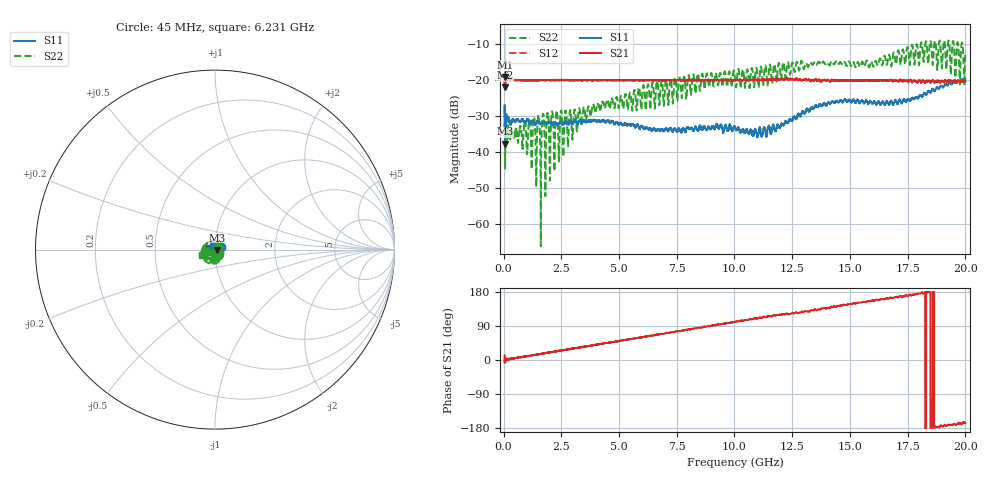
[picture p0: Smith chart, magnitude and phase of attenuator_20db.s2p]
!Agilent Technologies,E8364A,US41440322,A.04.87.01
!Agilent E8364A: A.04.87.01
!Date: Thursday, July 18, 2024 08:44:08
!Correction: S11(Full 2 Port SOLT,1,2) S21(Full 2 Port SOLT,1,2) S12(Full 2 Port SOLT,1,2) S22(Full 2 Port SOLT,1,2)
!S2P File: Measurements: S11, S21, S12, S22:
# Hz S  dB  R 50
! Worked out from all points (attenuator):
!   6401 points, 45 MHz to 20 GHz, reference 50 ohm
!   highest |S21| = -19.33 dB at 54.35 MHz (marker M1); lowest = -22.1 dB at 63.71 MHz (marker M2)
!   lowest |S11| = -37.8 dB at 63.71 MHz (marker M3), VSWR 1.03, Z = 51.2 - j0.46 ohm
!   |S11| at or under -10 dB: start of sweep to end of sweep
!   |S22| runs from -66.3 to -9.1 dB; largest |S21 - S12| = 0.048
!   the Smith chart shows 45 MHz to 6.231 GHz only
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4.5e7  -29.25 25.4  -20.47 12.3  -19.17 -13.3  -33.90 38.7
5.435391e7  -31.12 33.8  -19.33 5.1  -20.38 4.1  -34.88 6.1
6.370781e7  -37.78 -20.3  -22.07 1.6  -19.50 -3.0  -38.83 -24.4
2.850836e8  -31.60 -7.5  -20.17 3.3  -20.09 3.0  -36.56 7.4
1.709995e9  -31.88 -67.1  -20.07 17.3  -20.11 16.5  -29.60 42.7
1.781709e9  -32.01 -71.0  -20.10 18.0  -20.07 17.9  -37.13 118.8
2.879234e9  -31.39 -119.8  -20.16 28.6  -20.05 28.5  -28.63 64.7
3.371873e9  -31.98 -136.2  -20.11 33.7  -20.10 33.3  -32.58 -100.0
4.397684e9  -31.74 -171.6  -20.09 44.4  -20.09 43.5  -27.54 13.0
5.485855e9  -32.75 146.2  -20.09 54.8  -20.12 54.6  -23.66 -125.6
6.698745e9  -34.05 100.6  -20.16 66.5  -20.12 66.3  -22.69 -40.2
8.887559e9  -33.27 28.5  -20.06 89.1  -20.08 88.5  -21.87 93.0
1.00225e10  -33.44 22.2  -20.09 100.5  -20.00 99.3  -19.50 35.3
1.130087e10  -33.36 48.5  -19.96 114.1  -19.97 112.4  -17.07 -68.1
1.334937e10  -27.64 70.9  -20.20 132.2  -20.19 129.2  -15.73 128.7
1.484912e10  -25.96 58.9  -20.21 145.8  -20.14 144.7  -16.15 40.7
1.591858e10  -26.29 28.5  -20.15 156.4  -20.10 155.7  -14.86 -117.3
1.667625e10  -26.94 -2.5  -20.29 161.8  -20.13 161.0  -13.22 -139.7
1.82134e10  -23.82 -75.5  -20.52 175.4  -20.29 175.5  -13.74 -148.2
1.980669e10  -20.25 -133.1  -20.60 -166.9  -20.42 -169.4  -12.28 -51.2
1.994076e10  -20.14 -137.6  -20.20 -165.0  -20.18 -167.5  -20.16 145.7
2e10  -19.80 -135.6  -20.48 -166.0  -20.59 -165.9  -12.35 -49.0
